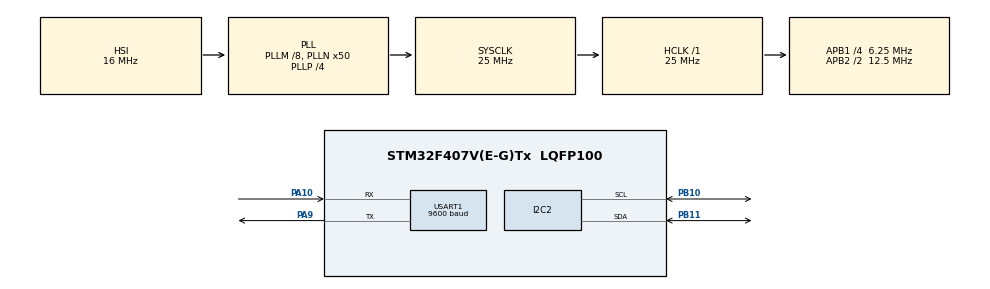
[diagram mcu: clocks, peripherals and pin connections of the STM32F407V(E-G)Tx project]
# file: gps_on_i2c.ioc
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Mcu.Family=STM32F4
Mcu.Name=STM32F407V(E-G)Tx
Mcu.Package=LQFP100
NVIC.PriorityGroup=NVIC_PRIORITYGROUP_0
NVIC.USART1_IRQn=true\:0\:0\:false\:false\:true\:true\:true\:true
PA10.Mode=Asynchronous
PA10.Signal=USART1_RX
PA9.Mode=Asynchronous
PA9.Signal=USART1_TX
PB10.Mode=I2C
PB10.Signal=I2C2_SCL
PB11.Mode=I2C
PB11.Signal=I2C2_SDA
ProjectManager.HeapSize=0x200
ProjectManager.StackSize=0x400
ProjectManager.TargetToolchain=STM32CubeIDE
RCC.48MHZClocksFreq_Value=14285714.285714285
RCC.AHBFreq_Value=25000000
RCC.APB1CLKDivider=RCC_HCLK_DIV4
RCC.APB1Freq_Value=6250000
RCC.APB1TimFreq_Value=12500000
RCC.APB2CLKDivider=RCC_HCLK_DIV2
RCC.APB2Freq_Value=12500000
RCC.APB2TimFreq_Value=25000000
RCC.CortexFreq_Value=25000000
RCC.HCLKFreq_Value=25000000
RCC.HSE_VALUE=8000000
RCC.HSI_VALUE=16000000
RCC.LSE_VALUE=32768
RCC.PLLM=8
RCC.PLLN=50
RCC.PLLP=RCC_PLLP_DIV4
RCC.PLLQ=7
RCC.SYSCLKFreq_VALUE=25000000
RCC.SYSCLKSource=RCC_SYSCLKSOURCE_PLLCLK
RCC.VCOOutputFreq_Value=100000000
USART1.BaudRate=9600
USART1.VirtualMode=VM_ASYNC
board=STM32F407G-DISC1

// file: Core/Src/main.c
/* USER CODE BEGIN Header */
/**
  ******************************************************************************
  * @file           : main.c
  * @brief          : Main program body
  ******************************************************************************
  * @attention
  *
  * Copyright (c) 2026 STMicroelectronics.
  * All rights reserved.
  *
  * This software is licensed under terms that can be found in the LICENSE file
  * in the root directory of this software component.
  * If no LICENSE file comes with this software, it is provided AS-IS.
  *
  ******************************************************************************
  */
/* USER CODE END Header */
#include "main.h"

/* USER CODE BEGIN Includes */
#include "lcd.h"
#include <stdio.h>
#include <string.h>
/* USER CODE END Includes */

I2C_HandleTypeDef hi2c2;

UART_HandleTypeDef huart1;

/* USER CODE BEGIN PV */
uint8_t gps_rx;
char gps_buffer[100];
uint16_t gps_index = 0;
/* USER CODE END PV */

void SystemClock_Config(void);
static void MX_GPIO_Init(void);
static void MX_I2C2_Init(void);
static void MX_USART1_UART_Init(void);

int main(void)
{

  /* MCU Configuration--------------------------------------------------------*/

  /* Reset of all peripherals, Initializes the Flash interface and the Systick. */
  HAL_Init();

  /* Configure the system clock */
  SystemClock_Config();

  /* Initialize all configured peripherals */
  MX_GPIO_Init();
  MX_I2C2_Init();
  MX_USART1_UART_Init();
  /* USER CODE BEGIN 2 */
  lcd_init();

  lcd_puts(LCD_LINE1,"GPS MODULE");
  lcd_puts(LCD_LINE2,"WAITING...");

  HAL_Delay(2000);

  HAL_UART_Receive_IT(&huart1,&gps_rx,1);
  /* USER CODE END 2 */

  /* Infinite loop */
  while (1)
  {
	      if(strlen(gps_buffer) > 0)
	      {
	          char lcd_line[17];

	          strncpy(lcd_line, gps_buffer, 16);
	          lcd_line[16] = '\0';

	          lcd_write_byte(LCD_CMD,LCD_CLEAR);

	          lcd_puts(LCD_LINE1,"GPS DATA");

	          lcd_puts(LCD_LINE2,lcd_line);

	          HAL_Delay(1000);
	      }

  }
}

void SystemClock_Config(void)
{
  RCC_OscInitTypeDef RCC_OscInitStruct = {0};
  RCC_ClkInitTypeDef RCC_ClkInitStruct = {0};

  /** Configure the main internal regulator output voltage
  */
  __HAL_RCC_PWR_CLK_ENABLE();
  __HAL_PWR_VOLTAGESCALING_CONFIG(PWR_REGULATOR_VOLTAGE_SCALE1);

  /** Initializes the RCC Oscillators according to the specified parameters
  * in the RCC_OscInitTypeDef structure.
  */
  RCC_OscInitStruct.OscillatorType = RCC_OSCILLATORTYPE_HSI;
  RCC_OscInitStruct.HSIState = RCC_HSI_ON;
  RCC_OscInitStruct.HSICalibrationValue = RCC_HSICALIBRATION_DEFAULT;
  RCC_OscInitStruct.PLL.PLLState = RCC_PLL_ON;
  RCC_OscInitStruct.PLL.PLLSource = RCC_PLLSOURCE_HSI;
  RCC_OscInitStruct.PLL.PLLM = 8;
  RCC_OscInitStruct.PLL.PLLN = 50;
  RCC_OscInitStruct.PLL.PLLP = RCC_PLLP_DIV4;
  RCC_OscInitStruct.PLL.PLLQ = 7;
  if (HAL_RCC_OscConfig(&RCC_OscInitStruct) != HAL_OK)
  {
    Error_Handler();
  }

  /** Initializes the CPU, AHB and APB buses clocks
  */
  RCC_ClkInitStruct.ClockType = RCC_CLOCKTYPE_HCLK|RCC_CLOCKTYPE_SYSCLK
                              |RCC_CLOCKTYPE_PCLK1|RCC_CLOCKTYPE_PCLK2;
  RCC_ClkInitStruct.SYSCLKSource = RCC_SYSCLKSOURCE_PLLCLK;
  RCC_ClkInitStruct.AHBCLKDivider = RCC_SYSCLK_DIV1;
  RCC_ClkInitStruct.APB1CLKDivider = RCC_HCLK_DIV4;
  RCC_ClkInitStruct.APB2CLKDivider = RCC_HCLK_DIV2;

  if (HAL_RCC_ClockConfig(&RCC_ClkInitStruct, FLASH_LATENCY_0) != HAL_OK)
  {
    Error_Handler();
  }
}

static void MX_I2C2_Init(void)
{

  hi2c2.Instance = I2C2;
  hi2c2.Init.ClockSpeed = 100000;
  hi2c2.Init.DutyCycle = I2C_DUTYCYCLE_2;
  hi2c2.Init.OwnAddress1 = 0;
  hi2c2.Init.AddressingMode = I2C_ADDRESSINGMODE_7BIT;
  hi2c2.Init.DualAddressMode = I2C_DUALADDRESS_DISABLE;
  hi2c2.Init.OwnAddress2 = 0;
  hi2c2.Init.GeneralCallMode = I2C_GENERALCALL_DISABLE;
  hi2c2.Init.NoStretchMode = I2C_NOSTRETCH_DISABLE;
  if (HAL_I2C_Init(&hi2c2) != HAL_OK)
  {
    Error_Handler();
  }

}

static void MX_USART1_UART_Init(void)
{

  huart1.Instance = USART1;
  huart1.Init.BaudRate = 9600;
  huart1.Init.WordLength = UART_WORDLENGTH_8B;
  huart1.Init.StopBits = UART_STOPBITS_1;
  huart1.Init.Parity = UART_PARITY_NONE;
  huart1.Init.Mode = UART_MODE_TX_RX;
  huart1.Init.HwFlowCtl = UART_HWCONTROL_NONE;
  huart1.Init.OverSampling = UART_OVERSAMPLING_16;
  if (HAL_UART_Init(&huart1) != HAL_OK)
  {
    Error_Handler();
  }

}

static void MX_GPIO_Init(void)
{

  /* GPIO Ports Clock Enable */
  __HAL_RCC_GPIOB_CLK_ENABLE();
  __HAL_RCC_GPIOA_CLK_ENABLE();

}

/* USER CODE BEGIN 4 */
void HAL_UART_RxCpltCallback(UART_HandleTypeDef *huart)
{
    if(huart->Instance == USART1)
    {
        if(gps_rx != '\n')
        {
            gps_buffer[gps_index++] = gps_rx;

            if(gps_index >= sizeof(gps_buffer)-1)
                gps_index = 0;
        }
        else
        {
            gps_buffer[gps_index] = '\0';
            gps_index = 0;
        }

        HAL_UART_Receive_IT(&huart1,&gps_rx,1);
    }
}
/* USER CODE END 4 */

void Error_Handler(void)
{
  __disable_irq();
  while (1)
  {
  }
}
